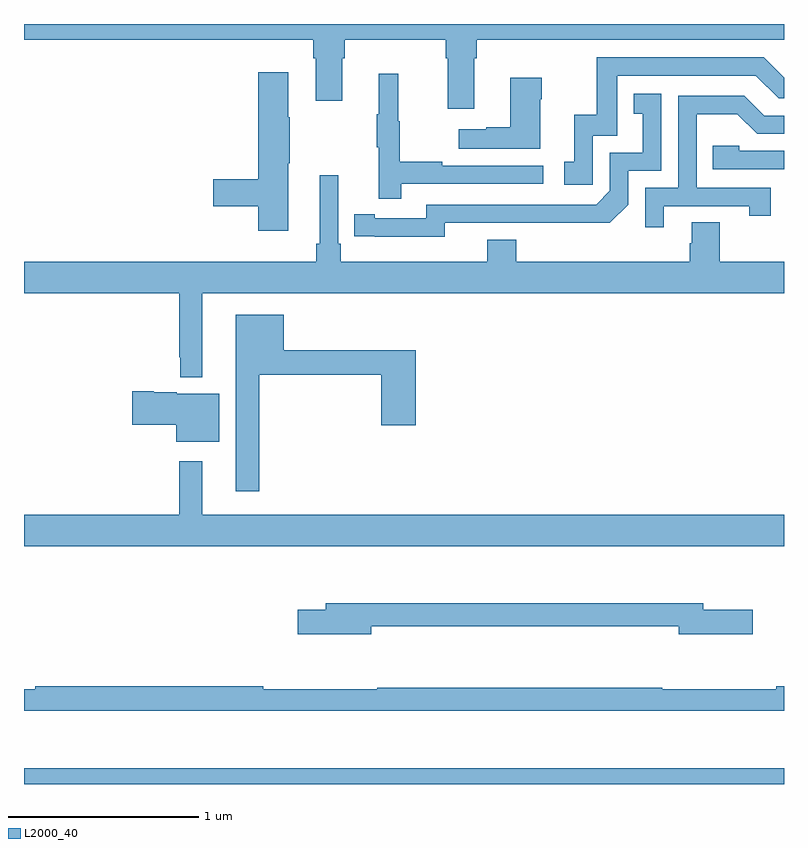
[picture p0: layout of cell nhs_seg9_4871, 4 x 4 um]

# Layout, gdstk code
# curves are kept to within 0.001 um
import gdstk
lib = gdstk.Library(unit=1e-6, precision=1e-09)
def R(c, l, rs):  # rectangles x0, y0, x1, y1
    for r in rs: c.add(gdstk.rectangle(r[:2], r[2:], *l))
def P(c, l, *ps):  # polygons
    for p in ps: c.add(gdstk.Polygon(p, *l))
L2000_40 = (2000, 40)

nhs_seg9_4871 = lib.new_cell('nhs_seg9_4871')
R(nhs_seg9_4871, L2000_40, [(393,1196.5,397,1196.584)])
P(nhs_seg9_4871, L2000_40, [(395.371,1200.32),(395.384,1200.32),(395.384,1200.416),(397,1200.416),(397,1200.5),(393,1200.5),(393,1200.416),(394.523,1200.416),(394.523,1200.32),(394.535,1200.32),(394.535,1200.096),(394.675,1200.096),(394.675,1200.32),(394.688,1200.32),(394.688,1200.416),(395.219,1200.416),(395.219,1200.32),(395.231,1200.32),(395.231,1200.054),(395.371,1200.054)],
  [(395.994,1199.913),(396.123,1199.913),(396.123,1200.228),(396.852,1200.228),(396.972,1200.108),(397,1200.108),(397,1200.218),(396.894,1200.324),(396.015,1200.324),(396.015,1200.022),(395.897,1200.022),(395.897,1199.775),(395.844,1199.775),(395.844,1199.655),(395.994,1199.655)],
  [(394.39,1199.767),(394.398,1199.767),(394.398,1200.008),(394.39,1200.008),(394.39,1200.247),(394.232,1200.247),(394.232,1199.684),(393.996,1199.684),(393.996,1199.542),(394.232,1199.542),(394.232,1199.412),(394.39,1199.412)],
  [(394.985,1199.658),(395.734,1199.658),(395.734,1199.754),(395.201,1199.754),(395.201,1199.774),(394.978,1199.774),(394.978,1199.988),(394.97,1199.988),(394.97,1200.238),(394.868,1200.238),(394.868,1200.025),(394.857,1200.025),(394.857,1199.851),(394.868,1199.851),(394.868,1199.58),(394.985,1199.58)],
  [(395.716,1200.104),(395.724,1200.104),(395.724,1200.217),(395.558,1200.217),(395.558,1199.957),(395.432,1199.957),(395.432,1199.947),(395.289,1199.947),(395.289,1199.843),(395.716,1199.843)],
  [(395.214,1199.454),(396.082,1199.453),(396.18,1199.55),(396.18,1199.727),(396.354,1199.727),(396.354,1200.133),(396.208,1200.133),(396.208,1200.027),(396.257,1200.027),(396.257,1199.823),(396.084,1199.823),(396.084,1199.622),(396.012,1199.55),(395.118,1199.55),(395.118,1199.478),(394.846,1199.478),(394.846,1199.498),(394.738,1199.498),(394.738,1199.382),(395.214,1199.381)],
  [(396.367,1199.541),(396.818,1199.541),(396.818,1199.49),(396.929,1199.49),(396.929,1199.637),(396.54,1199.637),(396.54,1200.026),(396.754,1200.026),(396.858,1199.922),(397,1199.922),(397,1200.018),(396.895,1200.018),(396.79,1200.123),(396.444,1200.123),(396.444,1199.637),(396.27,1199.637),(396.27,1199.43),(396.367,1199.43)],
  [(397,1199.832),(396.765,1199.832),(396.765,1199.859),(396.625,1199.859),(396.625,1199.736),(397,1199.736)],
  [(393.937,1199.084),(397,1199.084),(397,1199.248),(396.663,1199.248),(396.663,1199.456),(396.515,1199.456),(396.515,1199.346),(396.503,1199.346),(396.503,1199.248),(395.591,1199.248),(395.591,1199.365),(395.438,1199.365),(395.438,1199.248),(394.667,1199.248),(394.667,1199.344),(394.653,1199.344),(394.653,1199.704),(394.556,1199.704),(394.556,1199.344),(394.537,1199.344),(394.537,1199.248),(393,1199.248),(393,1199.084),(393.816,1199.084),(393.816,1198.747),(393.823,1198.747),(393.823,1198.64),(393.937,1198.64)],
  [(394.237,1198.654),(394.88,1198.654),(394.88,1198.389),(395.063,1198.389),(395.063,1198.783),(394.366,1198.783),(394.366,1198.969),(394.115,1198.969),(394.115,1198.041),(394.237,1198.041)],
  [(394.027,1198.555),(393.804,1198.555),(393.804,1198.561),(393.682,1198.561),(393.682,1198.568),(393.57,1198.568),(393.57,1198.39),(393.8,1198.39),(393.8,1198.301),(394.027,1198.301)],
  [(397,1197.916),(393.937,1197.916),(393.937,1198.198),(393.816,1198.198),(393.816,1197.916),(393,1197.916),(393,1197.752),(397,1197.752)],
  [(394.828,1197.33),(396.446,1197.33),(396.446,1197.287),(396.835,1197.287),(396.835,1197.417),(396.574,1197.417),(396.574,1197.451),(394.589,1197.451),(394.589,1197.417),(394.44,1197.417),(394.44,1197.287),(394.828,1197.287)],
  [(397,1197.014),(396.958,1197.014),(396.958,1196.999),(396.358,1196.999),(396.358,1197.007),(394.858,1197.007),(394.858,1196.999),(394.258,1196.999),(394.258,1197.014),(393.058,1197.014),(393.058,1196.999),(393,1196.999),(393,1196.886),(397,1196.886)])

lib.write_gds('nhs_seg9_4871.gds')
